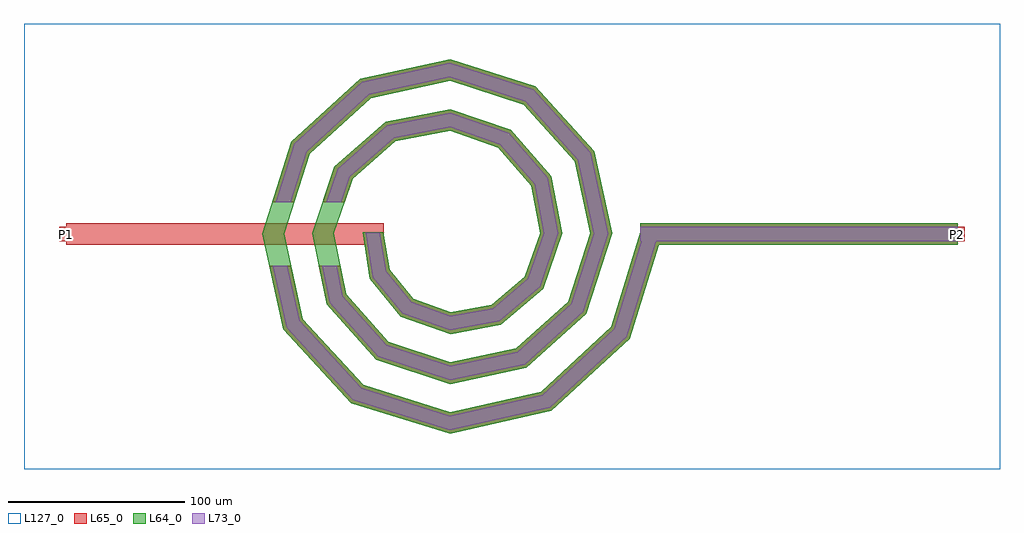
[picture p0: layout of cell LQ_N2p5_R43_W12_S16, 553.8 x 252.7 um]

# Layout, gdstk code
import gdstk
lib = gdstk.Library(unit=1e-6, precision=1e-09)
def R(c, l, rs):  # rectangles x0, y0, x1, y1
    for r in rs: c.add(gdstk.rectangle(r[:2], r[2:], *l))
def P(c, l, *ps):  # polygons
    for p in ps: c.add(gdstk.Polygon(p, *l))
L64_0 = (64, 0)
L65_0 = (65, 0)
L73_0 = (73, 0)
L127_0 = (127, 0)

lq_n2p5_r43_w12_s16 = lib.new_cell('LQ_N2p5_R43_W12_S16')
R(lq_n2p5_r43_w12_s16, L64_0, [(108.303,-6,288.303,6)])
P(lq_n2p5_r43_w12_s16, L64_0, [(-34.057,-20.349),(-20.523,-36.679),(0.539,-44.385),(23.818,-40.223),(42.771,-24.124),(51.461,0.474),(46.382,27.304),(27.71,48.872),(0.422,58.539),(-30.802,52.536),(-54.979,31.288),(-65.617,0.38),(-58.685,-34.307),(-34.859,-61.091),(0.346,-72.696),(37.819,-64.832),(67.207,-38.425),(79.775,0.318),(70.976,41.336),(41.987,73.326),(0.294,86.855),(-44.856,77.119),(-79.446,45.545),(-93.935,0.273),(-83.261,-48.378),(-49.102,-85.568),(0.255,-101.015),(51.904,-89.401),(91.691,-52.656),(108.572,1.777),(120.034,-1.777),(102.199,-59.287),(57.679,-100.402),(0.255,-113.429),(-55.76,-96.058),(-94.278,-54.123),(-106.348,0.273),(-89.916,52.236),(-50.565,88.155),(0.294,99.266),(48.714,83.772),(82.033,47.005),(92.185,0.318),(77.627,-45.195),(43.44,-75.914),(0.346,-85.103),(-41.68,-71.478),(-69.796,-39.872),(-78.02,0.38),(-65.326,38.17),(-36.297,63.682),(0.422,70.937),(34.667,59.17),(57.571,32.713),(63.853,0.474),(53.007,-31.173),(29.119,-51.466),(0.539,-56.768),(-27.693,-46.834),(-45.368,-25.507),(-49.416,0.977),(-37.576,0.977)])
R(lq_n2p5_r43_w12_s16, L65_0, [(-217.496,-6,-37.496,6), (108.303,-6,288.303,6), (-221.496,-4,-213.496,4), (284.303,-4,292.303,4)])
P(lq_n2p5_r43_w12_s16, L65_0, [(-83.261,-48.379),(-49.102,-85.568),(0.255,-101.015),(51.904,-89.401),(91.691,-52.656),(108.572,1.777),(120.034,-1.777),(102.199,-59.287),(57.679,-100.402),(0.255,-113.429),(-55.76,-96.058),(-94.278,-54.123),(-102.293,-18),(-90.001,-18)],
  [(-58.685,-34.307),(-34.859,-61.092),(0.346,-72.696),(37.819,-64.832),(67.207,-38.425),(79.775,0.318),(70.977,41.336),(41.987,73.326),(0.294,86.855),(-44.856,77.119),(-79.446,45.545),(-88.157,18),(-100.742,18),(-89.916,52.236),(-50.565,88.155),(0.294,99.267),(48.714,83.772),(82.033,47.005),(92.185,0.318),(77.627,-45.195),(43.441,-75.914),(0.346,-85.103),(-41.68,-71.478),(-69.796,-39.872),(-74.265,-18),(-62.017,-18)],
  [(-20.523,-36.679),(0.54,-44.385),(23.818,-40.223),(42.771,-24.124),(51.461,0.474),(46.382,27.304),(27.711,48.872),(0.422,58.539),(-30.802,52.536),(-54.979,31.288),(-59.443,18),(-72.102,18),(-65.326,38.17),(-36.297,63.682),(0.422,70.937),(34.667,59.17),(57.571,32.713),(63.853,0.474),(53.007,-31.173),(29.119,-51.466),(0.54,-56.768),(-27.693,-46.834),(-45.368,-25.507),(-49.416,0.977),(-37.576,0.977),(-34.057,-20.349)])
R(lq_n2p5_r43_w12_s16, L73_0, [(108.303,-4,288.303,4)])
P(lq_n2p5_r43_w12_s16, L73_0, [(-85.097,-49.336),(-50.211,-87.316),(0.17,-103.084),(52.866,-91.234),(93.443,-53.761),(110.482,1.185),(118.123,-1.185),(100.448,-58.182),(56.716,-98.568),(0.17,-111.36),(-54.651,-94.31),(-92.441,-53.166),(-100.245,-18),(-92.05,-18)],
  [(-60.537,-35.235),(-35.996,-62.823),(0.231,-74.764),(38.756,-66.679),(68.944,-39.553),(81.844,0.212),(72.819,42.28),(43.108,75.067),(0.196,88.924),(-45.807,78.959),(-81.191,46.66),(-90.254,18),(-98.645,18),(-88.171,51.121),(-49.614,86.316),(0.196,97.198),(47.593,82.031),(80.191,46.06),(90.117,0.212),(75.89,-44.067),(42.504,-74.067),(0.231,-83.035),(-40.543,-69.747),(-67.945,-38.944),(-72.224,-18),(-64.058,-18)],
  [(-21.718,-38.372),(0.36,-46.449),(24.702,-42.097),(44.477,-25.299),(53.526,0.316),(48.247,28.206),(28.87,50.588),(0.281,60.605),(-31.717,54.393),(-56.704,32.435),(-61.553,18),(-69.992,18),(-63.602,37.023),(-35.381,61.824),(0.281,68.871),(33.508,57.453),(55.706,31.812),(61.788,0.316),(51.301,-29.998),(28.235,-49.592),(0.36,-54.704),(-26.498,-45.142),(-43.483,-24.647),(-47.442,0.651),(-39.549,0.651),(-35.942,-21.209)])
R(lq_n2p5_r43_w12_s16, L127_0, [(-241.496,-133.429,312.303,119.267)])
lq_n2p5_r43_w12_s16.add(gdstk.Label('P2', (288.303,0), layer=65, texttype=0))
lq_n2p5_r43_w12_s16.add(gdstk.Label('P1', (-217.496,0), layer=65, texttype=0))
lq_n2p5_r43_w12_s16.add(gdstk.Label('P2', (292.303,0), layer=145, texttype=0))
lq_n2p5_r43_w12_s16.add(gdstk.Label('P1', (-221.496,0), layer=145, texttype=0))

lib.write_gds('LQ_N2p5_R43_W12_S16.gds')
